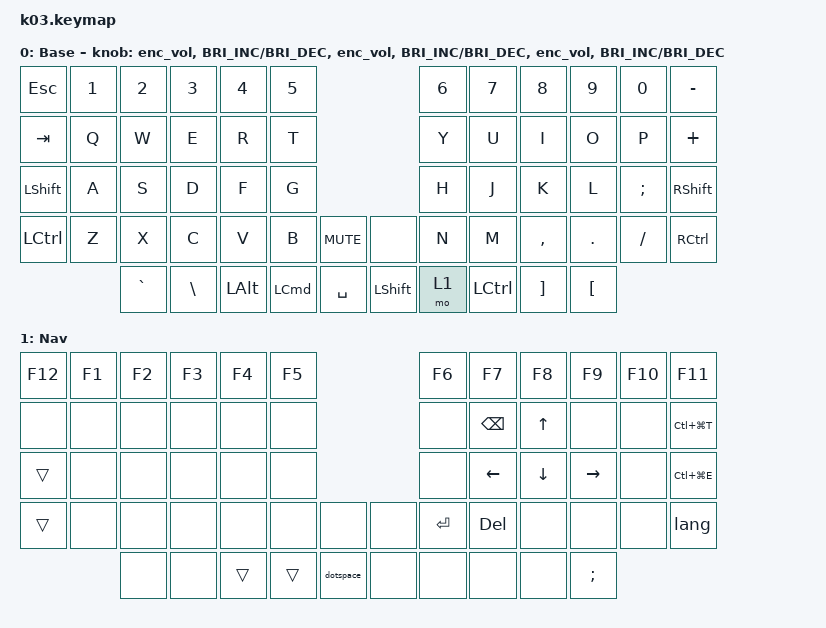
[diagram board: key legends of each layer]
#include "keys_ru.h"
#include <behaviors.dtsi>
#include <dt-bindings/zmk/keys.h>

/ {
    behaviors {
        enc_vol: enc_vol {
            compatible = "zmk,behavior-sensor-rotate";
            label = "ENC_VOL";
            #sensor-binding-cells = <0>;
            bindings = <&kp C_VOL_UP>, <&kp C_VOL_DN>;
        };
    };

    macros {
        dotspace: dotspace {
            compatible = "zmk,behavior-macro";
            #binding-cells = <0>;
            bindings = <&kp KP_DOT &kp SPACE>;
            label = "DOTSPACE";
        };

        lang: lang {
            compatible = "zmk,behavior-macro";
            #binding-cells = <0>;
            bindings =
                <&macro_press>,
                <&kp LEFT_CONTROL>,
                <&macro_wait_time 40>,
                <&macro_tap>,
                <&kp SPACE>,
                <&macro_wait_time 40>,
                <&macro_release>,
                <&kp LEFT_CONTROL>;

            label = "LANG";
            wait-ms = <20>;
            tap-ms = <20>;
        };
    };

    keymap {
        compatible = "zmk,keymap";

        base {
            bindings = <
&kp ESCAPE        &kp N1  &kp N2     &kp N3         &kp N4        &kp N5                                          &kp N6  &kp N7            &kp N8             &kp N9            &kp N0    &kp MINUS
&kp TAB           &kp Q   &kp W      &kp E          &kp R         &kp T                                           &kp Y   &kp U             &kp I              &kp O             &kp P     &kp PLUS
&kp LEFT_SHIFT    &kp A   &kp S      &kp D          &kp F         &kp G                                           &kp H   &kp J             &kp K              &kp L             &kp SEMI  &kp RIGHT_SHIFT
&kp LEFT_CONTROL  &kp Z   &kp X      &kp C          &kp V         &kp B             &kp C_MUTE    &none           &kp N   &kp M             &kp COMMA          &kp DOT           &kp FSLH  &kp RIGHT_CONTROL
                          &kp GRAVE  &kp BACKSLASH  &kp LEFT_ALT  &kp LEFT_COMMAND  &kp SPACE     &kp LEFT_SHIFT  &mo 1   &kp LEFT_CONTROL  &kp RIGHT_BRACKET  &kp LEFT_BRACKET
            >;

            display-name = "Base";
            sensor-bindings =
                <&enc_vol>,
                <&inc_dec_kp C_BRIGHTNESS_INC C_BRIGHTNESS_DEC>,
                <&enc_vol>,
                <&inc_dec_kp C_BRIGHTNESS_INC C_BRIGHTNESS_DEC>,
                <&enc_vol>,
                <&inc_dec_kp C_BRIGHTNESS_INC C_BRIGHTNESS_DEC>;
        };

        nav {
            bindings = <
&kp F12  &kp F1  &kp F2  &kp F3  &kp F4  &kp F5                      &kp F6     &kp F7         &kp F8    &kp F9     &kp F10  &kp F11
&none    &none   &none   &none   &none   &none                       &none      &kp BACKSPACE  &kp UP    &none      &none    &kp LC(LG(T))
&trans   &none   &none   &none   &none   &none                       &none      &kp LEFT       &kp DOWN  &kp RIGHT  &none    &kp LC(LG(E))
&trans   &none   &none   &none   &none   &none   &none        &none  &kp ENTER  &kp DELETE     &none     &none      &none    &lang
                 &none   &none   &trans  &trans  &dotspace    &none  &none      &none          &none     &kp SEMI
            >;

            display-name = "Nav";
        };
    };
};
